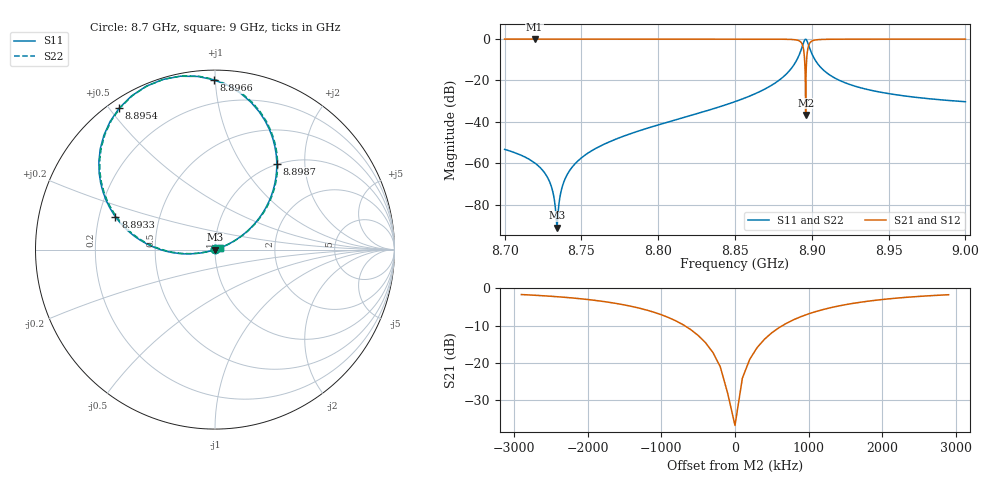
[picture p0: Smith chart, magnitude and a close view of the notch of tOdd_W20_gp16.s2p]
! Sonnet Data File
! From: emgraph Version : 16.52
! From Emgraph Data: transmon_trial2
! Data File Written: 10/20/2017 09:49:55
!< HDATE 10/20/2017 09:16:47
!< MDATE 10/20/2017 09:16:47
!< PARAMS
!< Lj = 15.24
!< Gap = 16.0
!< Width = 20.0
!< Pwidth = 2000.0
!< END PARAMS
# GHZ S MA R 38.50000
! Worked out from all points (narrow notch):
!   3001 points, 8.7 GHz to 9 GHz, reference 38.5 ohm
!   highest |S21| = 0.00 dB at 8.7195 GHz (marker M1); lowest = -36.7 dB at 8.896 GHz (marker M2)
!   notch at M2: 36.7 dB deep, 489 kHz wide at half that depth
!   lowest |S11| = -91.1 dB at 8.7341 GHz (marker M3), VSWR 1.00, Z = 38.5 - j0.00206 ohm
!   |S11| at or under -10 dB: start of sweep to 8.8903 GHz; 8.9021 GHz to end of sweep
!   |S22| runs from -92.8 to -0.1 dB; largest |S21 - S12| = 0
!   S11 on the Smith chart (normalised r, x): 8.7 GHz: 1.00, +0.00; 8.8933 GHz: 0.27, +0.15; 8.8954 GHz: 0.03, +0.53; 8.8966 GHz: 0.05, +0.99; 8.8987 GHz: 0.99, +1.45; 9 GHz: 1.06, +0.02
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8.7  0.002161 18.8  1 -70.7  1 -70.7  0.002161 19.6
!< P1 F=8.7 Eeff=(4.9947984 -5.8807e-5) Z0=(38.4974817 -1.2545e-4) R=0.0 C=0.0
!< P2 F=8.7 Eeff=(4.9947984 -5.8807e-5) Z0=(38.4974817 -1.2545e-4) R=0.0 C=0.0
8.7195  0.001025 17.7  1 -71.0  1 -71.0  0.001025 20.0
8.7279  0.0004562 15.7  1 -71.1  1 -71.1  0.000456 21.5
8.7341  2.775e-05 -74.1  1 -71.1  1 -71.1  2.299e-05 112.4
8.7406  0.0005198 -157.9  1 -71.2  1 -71.2  0.0005195 -164.0
8.75  0.001348 -159.9  1 -71.3  1 -71.3  0.001348 -162.6
8.7687  0.003353 -160.9  1 -71.6  1 -71.6  0.003353 -162.3
8.8  0.008436 -161.7  1 -72.2  1 -72.2  0.008436 -162.6
8.85  0.03077 -163.5  0.9995 -73.8  0.9995 -73.8  0.03077 -164.2
8.8799  0.1096 -168.4  0.9938 -78.6  0.9938 -78.6  0.1096 -169.0
8.8901  0.3067 179.8  0.9509 -90.3  0.9509 -90.3  0.3067 179.3
8.8933  0.5838 161.8  0.8082 -108.2  0.8082 -108.2  0.5838 161.2
8.8944  0.773 146.6  0.6261 -123.1  0.6261 -123.1  0.773 146.0
8.8954  0.9517 124.1  0.2803 -144.5  0.2803 -144.5  0.9517 123.5
8.896  0.9914 107.1  0.01458 -18.9  0.01458 -18.9  0.9914 106.6
8.8966  0.9462 90.4  0.2991 -1.4  0.2991 -1.4  0.9462 89.9
8.8987  0.5897 54.3  0.804 -36.4  0.804 -36.4  0.5897 53.7
8.9  0.4467 44.6  0.8928 -46.0  0.8928 -46.0  0.4467 44.0
8.9046  0.2331 31.3  0.972 -59.0  0.972 -59.0  0.2331 30.8
8.9157  0.1108 24.1  0.9938 -66.3  0.9938 -66.3  0.1108 23.5
8.95  0.04813 20.1  0.9988 -70.1  0.9988 -70.1  0.04813 19.6
9  0.03061 18.7  0.9995 -71.6  0.9995 -71.6  0.03061 18.2
